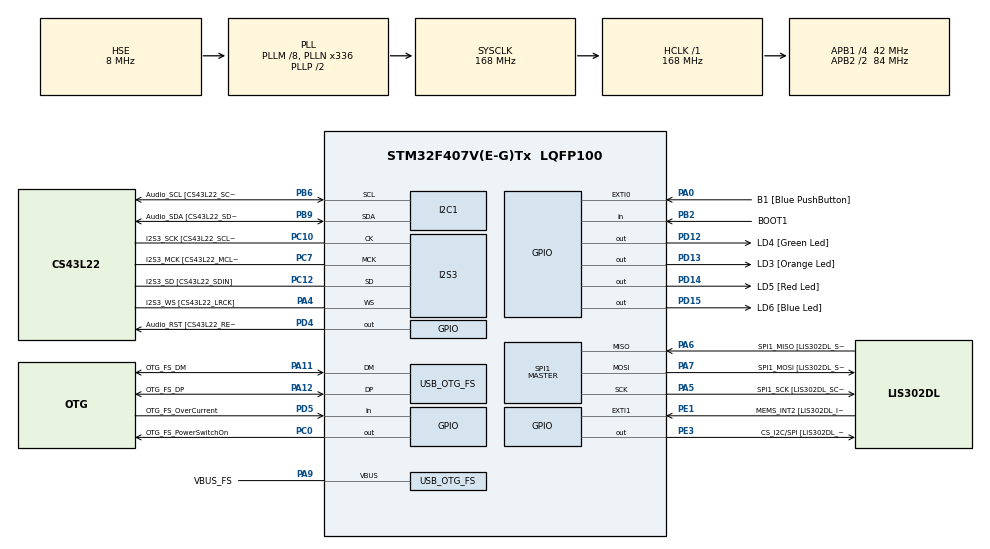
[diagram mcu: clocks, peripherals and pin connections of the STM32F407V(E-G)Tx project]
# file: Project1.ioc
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I2S3.AudioFreq-Half_Duplex_Master=I2S_AUDIOFREQ_96K
I2S3.ErrorAudioFreq=-2.34 %
I2S3.ErrorAudioFreq-Half_Duplex_Master=0.8 %
I2S3.FullDuplexMode=I2S_FULLDUPLEXMODE_DISABLE
I2S3.Instance=SPI$Index
I2S3.RealAudioFreq=93.75 KHz
I2S3.RealAudioFreq-Half_Duplex_Master=96.774 KHz
I2S3.VirtualMode=I2S_MODE_MASTER
Mcu.Family=STM32F4
Mcu.Name=STM32F407V(E-G)Tx
Mcu.Package=LQFP100
NVIC.OTG_FS_IRQn=true\:0\:0\:false\:false\:true\:true\:true\:true
NVIC.PriorityGroup=NVIC_PRIORITYGROUP_0
PA0-WKUP.GPIO_Label=B1 [Blue PushButton]
PA0-WKUP.GPIO_ModeDefaultEXTI=GPIO_MODE_EVT_RISING
PA0-WKUP.GPIO_PuPd=GPIO_NOPULL
PA0-WKUP.Signal=GPXTI0
PA10.GPIO_Label=OTG_FS_ID
PA10.GPIO_Mode=GPIO_MODE_AF_PP
PA10.GPIO_PuPd=GPIO_NOPULL
PA10.GPIO_Speed=GPIO_SPEED_FREQ_LOW
PA10.Signal=USB_OTG_FS_ID
PA11.GPIO_Label=OTG_FS_DM
PA11.GPIO_Mode=GPIO_MODE_AF_PP
PA11.GPIO_PuPd=GPIO_NOPULL
PA11.GPIO_Speed=GPIO_SPEED_FREQ_LOW
PA11.Mode=Host_Only
PA11.Signal=USB_OTG_FS_DM
PA12.GPIO_Label=OTG_FS_DP
PA12.GPIO_Mode=GPIO_MODE_AF_PP
PA12.GPIO_PuPd=GPIO_NOPULL
PA12.GPIO_Speed=GPIO_SPEED_FREQ_LOW
PA12.Mode=Host_Only
PA12.Signal=USB_OTG_FS_DP
PA13.GPIO_Label=SWDIO
PA13.Mode=Serial_Wire
PA13.Signal=SYS_JTMS-SWDIO
PA14.GPIO_Label=SWCLK
PA14.Mode=Serial_Wire
PA14.Signal=SYS_JTCK-SWCLK
PA4.GPIO_Label=I2S3_WS [CS43L22_LRCK]
PA4.GPIO_Mode=GPIO_MODE_AF_PP
PA4.GPIO_PuPd=GPIO_NOPULL
PA4.GPIO_Speed=GPIO_SPEED_FREQ_LOW
PA4.Mode=Half_Duplex_Master
PA4.Signal=I2S3_WS
PA5.GPIO_Label=SPI1_SCK [LIS302DL_SCL/SPC]
PA5.GPIO_Mode=GPIO_MODE_AF_PP
PA5.GPIO_PuPd=GPIO_NOPULL
PA5.GPIO_Speed=GPIO_SPEED_FREQ_LOW
PA5.Mode=Full_Duplex_Master
PA5.Signal=SPI1_SCK
PA6.GPIO_Label=SPI1_MISO [LIS302DL_SDO]
PA6.GPIO_Mode=GPIO_MODE_AF_PP
PA6.GPIO_PuPd=GPIO_NOPULL
PA6.GPIO_Speed=GPIO_SPEED_FREQ_LOW
PA6.Mode=Full_Duplex_Master
PA6.Signal=SPI1_MISO
PA7.GPIO_Label=SPI1_MOSI [LIS302DL_SDA/SDI/SDO]
PA7.GPIO_Mode=GPIO_MODE_AF_PP
PA7.GPIO_PuPd=GPIO_NOPULL
PA7.GPIO_Speed=GPIO_SPEED_FREQ_LOW
PA7.Mode=Full_Duplex_Master
PA7.Signal=SPI1_MOSI
PA9.GPIO_Label=VBUS_FS
PA9.GPIO_Mode=GPIO_MODE_INPUT
PA9.GPIO_PuPd=GPIO_NOPULL
PA9.Mode=Activate_VBUS
PA9.Signal=USB_OTG_FS_VBUS
PB10.GPIO_Label=CLK_IN [MP45DT02_CLK]
PB10.GPIO_Mode=GPIO_MODE_AF_PP
PB10.GPIO_PuPd=GPIO_NOPULL
PB10.GPIO_Speed=GPIO_SPEED_FREQ_LOW
PB10.Signal=I2S2_CK
PB2.GPIO_Label=BOOT1
PB2.GPIO_Mode=GPIO_MODE_INPUT
PB2.GPIO_PuPd=GPIO_NOPULL
PB2.Signal=GPIO_Input
PB3.GPIO_Label=SWO
PB3.Signal=SYS_JTDO-SWO
PB6.GPIO_Label=Audio_SCL [CS43L22_SCL]
PB6.GPIO_Mode=GPIO_MODE_AF_OD
PB6.GPIO_Pu=GPIO_PULLUP
PB6.GPIO_PuPd=GPIO_NOPULL
PB6.GPIO_Speed=GPIO_SPEED_FREQ_LOW
PB6.Mode=I2C
PB6.Signal=I2C1_SCL
PB9.GPIO_Label=Audio_SDA [CS43L22_SDA]
PB9.GPIO_Mode=GPIO_MODE_AF_OD
PB9.GPIO_Pu=GPIO_PULLUP
PB9.GPIO_PuPd=GPIO_NOPULL
PB9.GPIO_Speed=GPIO_SPEED_FREQ_LOW
PB9.Mode=I2C
PB9.Signal=I2C1_SDA
PC0.GPIO_Label=OTG_FS_PowerSwitchOn
PC0.GPIO_PuPd=GPIO_NOPULL
PC0.GPIO_Speed=GPIO_SPEED_FREQ_LOW
PC0.PinState=GPIO_PIN_SET
PC0.Signal=GPIO_Output
PC10.GPIO_Label=I2S3_SCK [CS43L22_SCLK]
PC10.GPIO_Mode=GPIO_MODE_AF_PP
PC10.GPIO_PuPd=GPIO_NOPULL
PC10.GPIO_Speed=GPIO_SPEED_FREQ_LOW
PC10.Mode=Half_Duplex_Master
PC10.Signal=I2S3_CK
PC12.GPIO_Label=I2S3_SD [CS43L22_SDIN]
PC12.GPIO_Mode=GPIO_MODE_AF_PP
PC12.GPIO_PuPd=GPIO_NOPULL
PC12.GPIO_Speed=GPIO_SPEED_FREQ_LOW
PC12.Mode=Half_Duplex_Master
PC12.Signal=I2S3_SD
PC14-OSC32_IN.GPIO_Label=PC14-OSC32_IN
PC14-OSC32_IN.Mode=LSE-External-Oscillator
PC14-OSC32_IN.Signal=RCC_OSC32_IN
PC15-OSC32_OUT.GPIO_Label=PC15-OSC32_OUT
PC15-OSC32_OUT.Mode=LSE-External-Oscillator
PC15-OSC32_OUT.Signal=RCC_OSC32_OUT
PC3.GPIO_Label=PDM_OUT [MP45DT02_DOUT]
PC3.GPIO_Mode=GPIO_MODE_AF_PP
PC3.GPIO_PuPd=GPIO_NOPULL
PC3.GPIO_Speed=GPIO_SPEED_FREQ_LOW
PC3.Signal=I2S2_SD
PC7.GPIO_Label=I2S3_MCK [CS43L22_MCLK]
PC7.GPIO_Mode=GPIO_MODE_AF_PP
PC7.GPIO_PuPd=GPIO_NOPULL
PC7.GPIO_Speed=GPIO_SPEED_FREQ_LOW
PC7.Mode=Master_Clock_Activated
PC7.Signal=I2S3_MCK
PD12.GPIO_Label=LD4 [Green Led]
PD12.GPIO_PuPd=GPIO_NOPULL
PD12.GPIO_Speed=GPIO_SPEED_FREQ_LOW
PD12.Signal=GPIO_Output
PD13.GPIO_Label=LD3 [Orange Led]
PD13.GPIO_PuPd=GPIO_NOPULL
PD13.GPIO_Speed=GPIO_SPEED_FREQ_LOW
PD13.Signal=GPIO_Output
PD14.GPIO_Label=LD5 [Red Led]
PD14.GPIO_PuPd=GPIO_NOPULL
PD14.GPIO_Speed=GPIO_SPEED_FREQ_LOW
PD14.Signal=GPIO_Output
PD15.GPIO_Label=LD6 [Blue Led]
PD15.GPIO_PuPd=GPIO_NOPULL
PD15.GPIO_Speed=GPIO_SPEED_FREQ_LOW
PD15.Signal=GPIO_Output
PD4.GPIO_Label=Audio_RST [CS43L22_RESET]
PD4.GPIO_PuPd=GPIO_NOPULL
PD4.GPIO_Speed=GPIO_SPEED_FREQ_LOW
PD4.Signal=GPIO_Output
PD5.GPIO_Label=OTG_FS_OverCurrent
PD5.GPIO_Mode=GPIO_MODE_INPUT
PD5.GPIO_PuPd=GPIO_NOPULL
PD5.Signal=GPIO_Input
PE1.GPIO_Label=MEMS_INT2 [LIS302DL_INT2]
PE1.GPIO_ModeDefaultEXTI=GPIO_MODE_EVT_RISING
PE1.GPIO_PuPd=GPIO_NOPULL
PE1.Signal=GPXTI1
PE3.GPIO_Label=CS_I2C/SPI [LIS302DL_CS_I2C/SPI]
PE3.GPIO_PuPd=GPIO_NOPULL
PE3.GPIO_Speed=GPIO_SPEED_FREQ_LOW
PE3.Signal=GPIO_Output
PH0-OSC_IN.GPIO_Label=PH0-OSC_IN
PH0-OSC_IN.Mode=HSE-External-Oscillator
PH0-OSC_IN.Signal=RCC_OSC_IN
PH1-OSC_OUT.GPIO_Label=PH1-OSC_OUT
PH1-OSC_OUT.Mode=HSE-External-Oscillator
PH1-OSC_OUT.Signal=RCC_OSC_OUT
ProjectManager.HeapSize=0x200
ProjectManager.StackSize=0x400
ProjectManager.TargetToolchain=STM32CubeIDE
RCC.48MHZClocksFreq_Value=48000000
RCC.AHBFreq_Value=168000000
RCC.APB1CLKDivider=RCC_HCLK_DIV4
RCC.APB1Freq_Value=42000000
RCC.APB1TimFreq_Value=84000000
RCC.APB2CLKDivider=RCC_HCLK_DIV2
RCC.APB2Freq_Value=84000000
RCC.APB2TimFreq_Value=168000000
RCC.CortexFreq_Value=168000000
RCC.HCLKFreq_Value=168000000
RCC.HSE_VALUE=8000000
RCC.HSI_VALUE=16000000
RCC.PLLM=8
RCC.PLLN=336
RCC.PLLQ=7
RCC.SYSCLKFreq_VALUE=168000000
RCC.SYSCLKSource=RCC_SYSCLKSOURCE_PLLCLK
RCC.VCOOutputFreq_Value=336000000
SPI1.BaudRatePrescaler-Full_Duplex_Master=SPI_BAUDRATEPRESCALER_2
SPI1.CalculateBaudRate-Full_Duplex_Master=42.0 MBits/s
SPI1.Direction=SPI_DIRECTION_2LINES
SPI1.Mode=SPI_MODE_MASTER
SPI1.Mode-Full_Duplex_Master=SPI_MODE_MASTER
SPI1.VirtualType=VM_MASTER
USB_HOST.BSP.number=1
USB_HOST.USBH_HandleTypeDef-CDC_FS=hUsbHostFS
USB_HOST.VirtualModeFS=Cdc
USB_HOST0.BSP.STBoard=false
USB_HOST0.BSP.api=Unknown
USB_HOST0.BSP.instance=PC0
USB_HOST0.BSP.ip=GPIO
USB_HOST0.BSP.mode=Output
USB_HOST0.BSP.name=Drive_VBUS_FS
USB_HOST0.BSP.solution=PC0
USB_OTG_FS.VirtualMode=Host_Only
USB_OTG_FS.phy_itface=HCD_PHY_EMBEDDED
VP_USB_HOST_VS_USB_HOST_CDC_FS.Mode=CDC_FS
board=STM32F407G-DISC1

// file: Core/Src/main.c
/* USER CODE BEGIN Header */
/**
  ******************************************************************************
  * @file           : main.c
  * @brief          : Main program body
  ******************************************************************************
  * @attention
  *
  * Copyright (c) 2025 STMicroelectronics.
  * All rights reserved.
  *
  * This software is licensed under terms that can be found in the LICENSE file
  * in the root directory of this software component.
  * If no LICENSE file comes with this software, it is provided AS-IS.
  *
  ******************************************************************************
  */
/* USER CODE END Header */
#include "main.h"
#include "usb_host.h"

/* USER CODE BEGIN Includes */
#include "FreeRTOS.h"
#include "tasks.h"
/* USER CODE END Includes */

I2C_HandleTypeDef hi2c1;

I2S_HandleTypeDef hi2s3;

SPI_HandleTypeDef hspi1;

void SystemClock_Config(void);
static void MX_GPIO_Init(void);
static void MX_I2C1_Init(void);
static void MX_I2S3_Init(void);
static void MX_SPI1_Init(void);
void MX_USB_HOST_Process(void);

/* USER CODE BEGIN PFP */
void task1_handler(void* parameters);
void task2_handler(void* parameters);
/* USER CODE END PFP */

int main(void)
{

  /* USER CODE BEGIN 1 */
	TaskHandle_t task1_handle;
	TaskHandle_t task2_handle;

	BaseType_t status;
  /* USER CODE END 1 */

  /* MCU Configuration--------------------------------------------------------*/

  /* Reset of all peripherals, Initializes the Flash interface and the Systick. */
  HAL_Init();

  /* Configure the system clock */
  SystemClock_Config();

  /* Initialize all configured peripherals */
  MX_GPIO_Init();
  MX_I2C1_Init();
  MX_I2S3_Init();
  MX_SPI1_Init();
  MX_USB_HOST_Init();
  /* USER CODE BEGIN 2 */

  pxTaskCode1 = task1_Handler;					// Pointer to the task handler
  pcName1 = "Task-1";							// Descriptive name to the task
  uxStackDepth1 = 200;							// 200*32 bits
  pvParameters1 = "Hello World from Task-1";	// Parameter to be passed
  uxPriority1 = 2;

  status = xTaskCreate(pxTaskCode1, pcName1, uxStackDepth1, pvParameters1, uxPriority1, &task1_handle);
  configASSERT(status == pdPASS);

  pxTaskCode2 = task1_Handler;					// Pointer to the task handler
  pcName2 = "Task-1";							// Descriptive name to the task
  uxStackDepth2 = 200;							// 200*32 bits
  pvParameters2 = "Hello World from Task-2";	// Parameter to be passed
  uxPriority2 = 2;

  status = xTaskCreate(pxTaskCode2, pcName2, uxStackDepth2, pvParameters2, uxPriority2, &task2_handle);
  configASSERT(status == pdPASS);

  // Start the freeRTOS scheduler
  vTaskStartScheduler();
  }
  /* USER CODE END 2 */

  /* Infinite loop */
  while (1)
  {
    MX_USB_HOST_Process();

  }
}

void SystemClock_Config(void)
{
  RCC_OscInitTypeDef RCC_OscInitStruct = {0};
  RCC_ClkInitTypeDef RCC_ClkInitStruct = {0};

  /** Configure the main internal regulator output voltage
  */
  __HAL_RCC_PWR_CLK_ENABLE();
  __HAL_PWR_VOLTAGESCALING_CONFIG(PWR_REGULATOR_VOLTAGE_SCALE1);

  /** Initializes the RCC Oscillators according to the specified parameters
  * in the RCC_OscInitTypeDef structure.
  */
  RCC_OscInitStruct.OscillatorType = RCC_OSCILLATORTYPE_HSE;
  RCC_OscInitStruct.HSEState = RCC_HSE_ON;
  RCC_OscInitStruct.PLL.PLLState = RCC_PLL_ON;
  RCC_OscInitStruct.PLL.PLLSource = RCC_PLLSOURCE_HSE;
  RCC_OscInitStruct.PLL.PLLM = 8;
  RCC_OscInitStruct.PLL.PLLN = 336;
  RCC_OscInitStruct.PLL.PLLP = RCC_PLLP_DIV2;
  RCC_OscInitStruct.PLL.PLLQ = 7;
  if (HAL_RCC_OscConfig(&RCC_OscInitStruct) != HAL_OK)
  {
    Error_Handler();
  }

  /** Initializes the CPU, AHB and APB buses clocks
  */
  RCC_ClkInitStruct.ClockType = RCC_CLOCKTYPE_HCLK|RCC_CLOCKTYPE_SYSCLK
                              |RCC_CLOCKTYPE_PCLK1|RCC_CLOCKTYPE_PCLK2;
  RCC_ClkInitStruct.SYSCLKSource = RCC_SYSCLKSOURCE_PLLCLK;
  RCC_ClkInitStruct.AHBCLKDivider = RCC_SYSCLK_DIV1;
  RCC_ClkInitStruct.APB1CLKDivider = RCC_HCLK_DIV4;
  RCC_ClkInitStruct.APB2CLKDivider = RCC_HCLK_DIV2;

  if (HAL_RCC_ClockConfig(&RCC_ClkInitStruct, FLASH_LATENCY_5) != HAL_OK)
  {
    Error_Handler();
  }
}

static void MX_I2C1_Init(void)
{

  hi2c1.Instance = I2C1;
  hi2c1.Init.ClockSpeed = 100000;
  hi2c1.Init.DutyCycle = I2C_DUTYCYCLE_2;
  hi2c1.Init.OwnAddress1 = 0;
  hi2c1.Init.AddressingMode = I2C_ADDRESSINGMODE_7BIT;
  hi2c1.Init.DualAddressMode = I2C_DUALADDRESS_DISABLE;
  hi2c1.Init.OwnAddress2 = 0;
  hi2c1.Init.GeneralCallMode = I2C_GENERALCALL_DISABLE;
  hi2c1.Init.NoStretchMode = I2C_NOSTRETCH_DISABLE;
  if (HAL_I2C_Init(&hi2c1) != HAL_OK)
  {
    Error_Handler();
  }

}

static void MX_I2S3_Init(void)
{

  hi2s3.Instance = SPI3;
  hi2s3.Init.Mode = I2S_MODE_MASTER_TX;
  hi2s3.Init.Standard = I2S_STANDARD_PHILIPS;
  hi2s3.Init.DataFormat = I2S_DATAFORMAT_16B;
  hi2s3.Init.MCLKOutput = I2S_MCLKOUTPUT_ENABLE;
  hi2s3.Init.AudioFreq = I2S_AUDIOFREQ_96K;
  hi2s3.Init.CPOL = I2S_CPOL_LOW;
  hi2s3.Init.ClockSource = I2S_CLOCK_PLL;
  hi2s3.Init.FullDuplexMode = I2S_FULLDUPLEXMODE_DISABLE;
  if (HAL_I2S_Init(&hi2s3) != HAL_OK)
  {
    Error_Handler();
  }

}

static void MX_SPI1_Init(void)
{

  /* SPI1 parameter configuration*/
  hspi1.Instance = SPI1;
  hspi1.Init.Mode = SPI_MODE_MASTER;
  hspi1.Init.Direction = SPI_DIRECTION_2LINES;
  hspi1.Init.DataSize = SPI_DATASIZE_8BIT;
  hspi1.Init.CLKPolarity = SPI_POLARITY_LOW;
  hspi1.Init.CLKPhase = SPI_PHASE_1EDGE;
  hspi1.Init.NSS = SPI_NSS_SOFT;
  hspi1.Init.BaudRatePrescaler = SPI_BAUDRATEPRESCALER_2;
  hspi1.Init.FirstBit = SPI_FIRSTBIT_MSB;
  hspi1.Init.TIMode = SPI_TIMODE_DISABLE;
  hspi1.Init.CRCCalculation = SPI_CRCCALCULATION_DISABLE;
  hspi1.Init.CRCPolynomial = 10;
  if (HAL_SPI_Init(&hspi1) != HAL_OK)
  {
    Error_Handler();
  }

}

static void MX_GPIO_Init(void)
{
  GPIO_InitTypeDef GPIO_InitStruct = {0};

  /* GPIO Ports Clock Enable */
  __HAL_RCC_GPIOE_CLK_ENABLE();
  __HAL_RCC_GPIOC_CLK_ENABLE();
  __HAL_RCC_GPIOH_CLK_ENABLE();
  __HAL_RCC_GPIOA_CLK_ENABLE();
  __HAL_RCC_GPIOB_CLK_ENABLE();
  __HAL_RCC_GPIOD_CLK_ENABLE();

  /*Configure GPIO pin Output Level */
  HAL_GPIO_WritePin(CS_I2C_SPI_GPIO_Port, CS_I2C_SPI_Pin, GPIO_PIN_RESET);

  /*Configure GPIO pin Output Level */
  HAL_GPIO_WritePin(OTG_FS_PowerSwitchOn_GPIO_Port, OTG_FS_PowerSwitchOn_Pin, GPIO_PIN_SET);

  /*Configure GPIO pin Output Level */
  HAL_GPIO_WritePin(GPIOD, LD4_Pin|LD3_Pin|LD5_Pin|LD6_Pin
                          |Audio_RST_Pin, GPIO_PIN_RESET);

  /*Configure GPIO pin : CS_I2C_SPI_Pin */
  GPIO_InitStruct.Pin = CS_I2C_SPI_Pin;
  GPIO_InitStruct.Mode = GPIO_MODE_OUTPUT_PP;
  GPIO_InitStruct.Pull = GPIO_NOPULL;
  GPIO_InitStruct.Speed = GPIO_SPEED_FREQ_LOW;
  HAL_GPIO_Init(CS_I2C_SPI_GPIO_Port, &GPIO_InitStruct);

  /*Configure GPIO pin : OTG_FS_PowerSwitchOn_Pin */
  GPIO_InitStruct.Pin = OTG_FS_PowerSwitchOn_Pin;
  GPIO_InitStruct.Mode = GPIO_MODE_OUTPUT_PP;
  GPIO_InitStruct.Pull = GPIO_NOPULL;
  GPIO_InitStruct.Speed = GPIO_SPEED_FREQ_LOW;
  HAL_GPIO_Init(OTG_FS_PowerSwitchOn_GPIO_Port, &GPIO_InitStruct);

  /*Configure GPIO pin : PDM_OUT_Pin */
  GPIO_InitStruct.Pin = PDM_OUT_Pin;
  GPIO_InitStruct.Mode = GPIO_MODE_AF_PP;
  GPIO_InitStruct.Pull = GPIO_NOPULL;
  GPIO_InitStruct.Speed = GPIO_SPEED_FREQ_LOW;
  GPIO_InitStruct.Alternate = GPIO_AF5_SPI2;
  HAL_GPIO_Init(PDM_OUT_GPIO_Port, &GPIO_InitStruct);

  /*Configure GPIO pin : B1_Pin */
  GPIO_InitStruct.Pin = B1_Pin;
  GPIO_InitStruct.Mode = GPIO_MODE_EVT_RISING;
  GPIO_InitStruct.Pull = GPIO_NOPULL;
  HAL_GPIO_Init(B1_GPIO_Port, &GPIO_InitStruct);

  /*Configure GPIO pin : BOOT1_Pin */
  GPIO_InitStruct.Pin = BOOT1_Pin;
  GPIO_InitStruct.Mode = GPIO_MODE_INPUT;
  GPIO_InitStruct.Pull = GPIO_NOPULL;
  HAL_GPIO_Init(BOOT1_GPIO_Port, &GPIO_InitStruct);

  /*Configure GPIO pin : CLK_IN_Pin */
  GPIO_InitStruct.Pin = CLK_IN_Pin;
  GPIO_InitStruct.Mode = GPIO_MODE_AF_PP;
  GPIO_InitStruct.Pull = GPIO_NOPULL;
  GPIO_InitStruct.Speed = GPIO_SPEED_FREQ_LOW;
  GPIO_InitStruct.Alternate = GPIO_AF5_SPI2;
  HAL_GPIO_Init(CLK_IN_GPIO_Port, &GPIO_InitStruct);

  /*Configure GPIO pins : LD4_Pin LD3_Pin LD5_Pin LD6_Pin
                           Audio_RST_Pin */
  GPIO_InitStruct.Pin = LD4_Pin|LD3_Pin|LD5_Pin|LD6_Pin
                          |Audio_RST_Pin;
  GPIO_InitStruct.Mode = GPIO_MODE_OUTPUT_PP;
  GPIO_InitStruct.Pull = GPIO_NOPULL;
  GPIO_InitStruct.Speed = GPIO_SPEED_FREQ_LOW;
  HAL_GPIO_Init(GPIOD, &GPIO_InitStruct);

  /*Configure GPIO pin : OTG_FS_OverCurrent_Pin */
  GPIO_InitStruct.Pin = OTG_FS_OverCurrent_Pin;
  GPIO_InitStruct.Mode = GPIO_MODE_INPUT;
  GPIO_InitStruct.Pull = GPIO_NOPULL;
  HAL_GPIO_Init(OTG_FS_OverCurrent_GPIO_Port, &GPIO_InitStruct);

  /*Configure GPIO pin : MEMS_INT2_Pin */
  GPIO_InitStruct.Pin = MEMS_INT2_Pin;
  GPIO_InitStruct.Mode = GPIO_MODE_EVT_RISING;
  GPIO_InitStruct.Pull = GPIO_NOPULL;
  HAL_GPIO_Init(MEMS_INT2_GPIO_Port, &GPIO_InitStruct);

}

/* USER CODE BEGIN 4 */
void task1_handler(void* parameters){

	while(1){
		printf("%s\n",(char*)parameters);
	}
}

void task2_handler(void* parameters){

	while(1){
		printf("%s\n",(char*)parameters);
	}
}
/* USER CODE END 4 */

void Error_Handler(void)
{
  __disable_irq();
  while (1)
  {
  }
}
